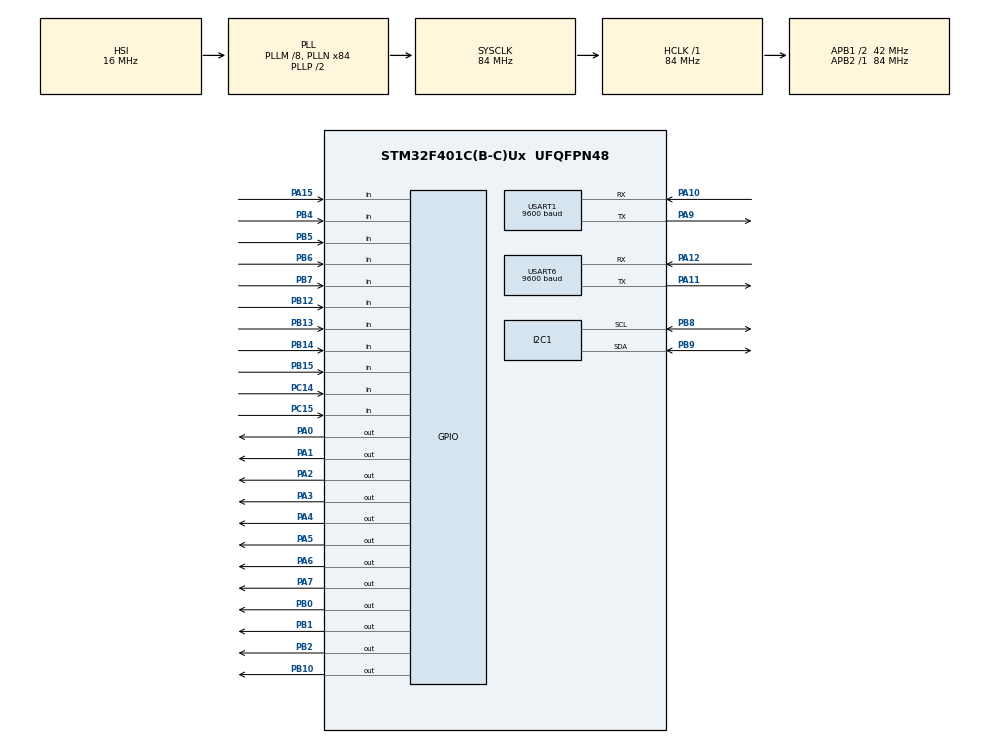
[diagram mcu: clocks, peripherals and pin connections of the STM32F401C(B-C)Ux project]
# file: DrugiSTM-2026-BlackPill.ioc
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Dma.Request0=USART6_RX
Dma.Request1=USART6_TX
Dma.USART6_RX.0.Direction=DMA_PERIPH_TO_MEMORY
Dma.USART6_RX.0.FIFOMode=DMA_FIFOMODE_DISABLE
Dma.USART6_RX.0.Instance=DMA2_Stream1
Dma.USART6_RX.0.MemDataAlignment=DMA_MDATAALIGN_BYTE
Dma.USART6_RX.0.MemInc=DMA_MINC_ENABLE
Dma.USART6_RX.0.Mode=DMA_CIRCULAR
Dma.USART6_RX.0.PeriphDataAlignment=DMA_PDATAALIGN_BYTE
Dma.USART6_RX.0.PeriphInc=DMA_PINC_DISABLE
Dma.USART6_RX.0.Priority=DMA_PRIORITY_LOW
Dma.USART6_TX.1.Direction=DMA_MEMORY_TO_PERIPH
Dma.USART6_TX.1.FIFOMode=DMA_FIFOMODE_DISABLE
Dma.USART6_TX.1.Instance=DMA2_Stream6
Dma.USART6_TX.1.MemDataAlignment=DMA_MDATAALIGN_BYTE
Dma.USART6_TX.1.MemInc=DMA_MINC_ENABLE
Dma.USART6_TX.1.Mode=DMA_NORMAL
Dma.USART6_TX.1.PeriphDataAlignment=DMA_PDATAALIGN_BYTE
Dma.USART6_TX.1.PeriphInc=DMA_PINC_DISABLE
Dma.USART6_TX.1.Priority=DMA_PRIORITY_LOW
Mcu.Family=STM32F4
Mcu.Name=STM32F401C(B-C)Ux
Mcu.Package=UFQFPN48
NVIC.DMA2_Stream1_IRQn=true\:0\:0\:false\:false\:true\:false\:true\:true
NVIC.DMA2_Stream6_IRQn=true\:0\:0\:false\:false\:true\:false\:true\:true
NVIC.PriorityGroup=NVIC_PRIORITYGROUP_4
NVIC.TIM1_BRK_TIM9_IRQn=true\:0\:0\:false\:false\:true\:true\:true\:true
PA0-WKUP.Signal=GPIO_Output
PA1.Signal=GPIO_Output
PA10.Mode=Asynchronous
PA10.Signal=USART1_RX
PA11.Mode=Asynchronous
PA11.Signal=USART6_TX
PA12.Mode=Asynchronous
PA12.Signal=USART6_RX
PA15.GPIO_PuPd=GPIO_PULLDOWN
PA15.Signal=GPIO_Input
PA2.Signal=GPIO_Output
PA3.Signal=GPIO_Output
PA4.Signal=GPIO_Output
PA5.Signal=GPIO_Output
PA6.Signal=GPIO_Output
PA7.Signal=GPIO_Output
PA9.Mode=Asynchronous
PA9.Signal=USART1_TX
PB0.Signal=GPIO_Output
PB1.Signal=GPIO_Output
PB10.Signal=GPIO_Output
PB12.GPIO_PuPd=GPIO_PULLDOWN
PB12.Signal=GPIO_Input
PB13.GPIO_PuPd=GPIO_PULLDOWN
PB13.Signal=GPIO_Input
PB14.GPIO_PuPd=GPIO_PULLDOWN
PB14.Signal=GPIO_Input
PB15.GPIO_PuPd=GPIO_PULLDOWN
PB15.Signal=GPIO_Input
PB2.Signal=GPIO_Output
PB4.Signal=GPIO_Input
PB5.Signal=GPIO_Input
PB6.Signal=GPIO_Input
PB7.Signal=GPIO_Input
PB8.Mode=I2C
PB8.Signal=I2C1_SCL
PB9.Mode=I2C
PB9.Signal=I2C1_SDA
PC14-OSC32_IN.Signal=GPIO_Input
PC15-OSC32_OUT.Signal=GPIO_Input
ProjectManager.HeapSize=0x200
ProjectManager.StackSize=0x400
ProjectManager.TargetToolchain=STM32CubeIDE
RCC.48MHZClocksFreq_Value=42000000
RCC.AHBFreq_Value=84000000
RCC.APB1CLKDivider=RCC_HCLK_DIV2
RCC.APB1Freq_Value=42000000
RCC.APB1TimFreq_Value=84000000
RCC.APB2Freq_Value=84000000
RCC.APB2TimFreq_Value=84000000
RCC.CortexFreq_Value=84000000
RCC.HCLKFreq_Value=84000000
RCC.HSE_VALUE=25000000
RCC.HSI_VALUE=16000000
RCC.LSE_VALUE=32768
RCC.PLLM=8
RCC.PLLN=84
RCC.SYSCLKFreq_VALUE=84000000
RCC.SYSCLKSource=RCC_SYSCLKSOURCE_PLLCLK
RCC.VCOOutputFreq_Value=168000000
TIM9.Period=1000-1
TIM9.Prescaler=84-1
USART1.BaudRate=9600
USART1.VirtualMode=VM_ASYNC
USART6.BaudRate=9600
USART6.VirtualMode=VM_ASYNC
VP_TIM9_VS_ClockSourceINT.Mode=Internal
board=custom

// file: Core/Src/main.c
/* USER CODE BEGIN Header */
/**
 ******************************************************************************
 * @file           : main.c
 * @brief          : Main program body
 ******************************************************************************
 * @attention
 *
 * Copyright (c) 2026 STMicroelectronics.
 * All rights reserved.
 *
 * This software is licensed under terms that can be found in the LICENSE file
 * in the root directory of this software component.
 * If no LICENSE file comes with this software, it is provided AS-IS.
 *
 ******************************************************************************
 */
/* USER CODE END Header */
#include "main.h"
#include "dma.h"
#include "i2c.h"
#include "tim.h"
#include "usart.h"
#include "gpio.h"

/* USER CODE BEGIN Includes */

#include "bitmap.h"
/* USER CODE END Includes */

/* USER CODE BEGIN PV */

int red, green, blue;
volatile int x = -1225, y = 4;
volatile float phi = -135.2;

uint8_t v1, v2, v3, v4;
uint8_t v1a = 0, v2a = 0, v3a = 0, v4a = 0;
uint8_t sisaljka_f1a = 0, sisaljka_f2a = 0, sisaljka_f3a = 0, sisaljka_f4a = 0;
uint8_t sisaljka_b1a = 0, sisaljka_b2a = 0, sisaljka_b3a = 0, sisaljka_b4a = 0;
uint8_t sisaljka_f1, sisaljka_f2, sisaljka_f3, sisaljka_f4;
uint8_t sisaljka_b1, sisaljka_b2, sisaljka_b3, sisaljka_b4;

uint8_t in;
char prviBroj, drugiBroj, treciBroj, cetvrtiBroj;
char petiBroj, sestiBroj, sedmiBroj, osmiBroj;

char cinc;
uint8_t chinchh = 0;

/* USER CODE END PV */

void SystemClock_Config(void);

int main(void)
{

  /* MCU Configuration--------------------------------------------------------*/

  /* Reset of all peripherals, Initializes the Flash interface and the Systick. */
  HAL_Init();

  /* Configure the system clock */
  SystemClock_Config();

  /* Initialize all configured peripherals */
  MX_GPIO_Init();
  MX_DMA_Init();
  MX_I2C1_Init();
  MX_TIM9_Init();
  MX_USART1_UART_Init();
  MX_USART6_UART_Init();
  /* USER CODE BEGIN 2 */
	comm_init();
	tcs3272_init();
	enable();
	time_start();
	SSD1306_Init();
	SSD1306_DrawBitmap(64, 0, logo, 64, 64, 1);
	SSD1306_DrawBitmap(0, 0, outline, 64, 63, 1);
	SSD1306_UpdateScreen();
  /* USER CODE END 2 */

  /* Infinite loop */
	while (1) {

    /* USER CODE BEGIN 3 */
		set_vacuum();
//		vacuum1(v1);
//		vacuum2(v2);
//		vacuum3(v3);
//		vacuum4(v4);

//		v1a = v1 + 48;
//		v2a = v2 + 48;
//		v3a = v3 + 48;
//		v4a = v4 + 48;

//		F_valve1(sisaljka_f1);
//		F_valve2(sisaljka_f2);
//		F_valve3(sisaljka_f3);
//		F_valve4(sisaljka_f4);

//		B_valve1(sisaljka_b1);
//		B_valve2(sisaljka_b2);
//		B_valve3(sisaljka_b3);
//		B_valve4(sisaljka_b4);
//
//		sisaljka_f1a = sisaljka_f1 + 48;
//		sisaljka_f2a = sisaljka_f2 + 48;
//		sisaljka_f3a = sisaljka_f3 + 48;
//		sisaljka_f4a = sisaljka_f4 + 48;
//
//		sisaljka_b1a = sisaljka_b1 + 48;
//		sisaljka_b2a = sisaljka_b2 + 48;
//		sisaljka_b3a = sisaljka_b3 + 48;
//		sisaljka_b4a = sisaljka_b4 + 48;
//
//		chich(cinc);
//		chinchh = cinc + 48;
//
//		char jedan[1];
//		*jedan = 49;
//		char dva[1];
//		char nula[1];
//		char c[1];
//		*c = 'C';
//		char y[1];
//		*y = 'Y';
//		char cetiri[1];
//		//		sprintf(jedan, "%d", 1);
//		//		sprintf(dva, "%d", 2);
//		//		sprintf(nula, "%d", 0);
//		//		sprintf(cetiri, "%d", 4);
//		//
//
//		SSD1306_GotoXY(8, 2);
//		SSD1306_Puts(&prviBroj, &Font_11x18, 1);
//		SSD1306_GotoXY(20, 2);
//		SSD1306_Puts(&drugiBroj, &Font_11x18, 1);
//		SSD1306_GotoXY(32, 2);
//		SSD1306_Puts(&treciBroj, &Font_11x18, 1);
//		SSD1306_GotoXY(44, 2);
//		SSD1306_Puts(&cetvrtiBroj, &Font_11x18, 1);
//
//		SSD1306_GotoXY(2, 21);
//		SSD1306_Puts(c, &Font_11x18, 1);
//		SSD1306_GotoXY(13, 21);
//		SSD1306_Puts(y, &Font_11x18, 1);
//		SSD1306_GotoXY(26, 21);
//		SSD1306_Puts(cetiri, &Font_11x18, 1);
//		SSD1306_GotoXY(38, 21);
//		SSD1306_Puts(dva, &Font_11x18, 1);
//		SSD1306_GotoXY(50, 21);
//		SSD1306_Puts(jedan, &Font_11x18, 1);
//
//		SSD1306_GotoXY(8, 42);
//		SSD1306_Puts(&petiBroj, &Font_11x18, 1);
//		SSD1306_GotoXY(20, 42);
//		SSD1306_Puts(&sestiBroj, &Font_11x18, 1);
//		SSD1306_GotoXY(32, 42);
//		SSD1306_Puts(&sedmiBroj, &Font_11x18, 1);
//		SSD1306_GotoXY(44, 42);
//		SSD1306_Puts(&osmiBroj, &Font_11x18, 1);
//
//		SSD1306_UpdateScreen();
	}
  /* USER CODE END 3 */
}

void SystemClock_Config(void)
{
  RCC_OscInitTypeDef RCC_OscInitStruct = {0};
  RCC_ClkInitTypeDef RCC_ClkInitStruct = {0};

  /** Configure the main internal regulator output voltage
  */
  __HAL_RCC_PWR_CLK_ENABLE();
  __HAL_PWR_VOLTAGESCALING_CONFIG(PWR_REGULATOR_VOLTAGE_SCALE2);

  /** Initializes the RCC Oscillators according to the specified parameters
  * in the RCC_OscInitTypeDef structure.
  */
  RCC_OscInitStruct.OscillatorType = RCC_OSCILLATORTYPE_HSI;
  RCC_OscInitStruct.HSIState = RCC_HSI_ON;
  RCC_OscInitStruct.HSICalibrationValue = RCC_HSICALIBRATION_DEFAULT;
  RCC_OscInitStruct.PLL.PLLState = RCC_PLL_ON;
  RCC_OscInitStruct.PLL.PLLSource = RCC_PLLSOURCE_HSI;
  RCC_OscInitStruct.PLL.PLLM = 8;
  RCC_OscInitStruct.PLL.PLLN = 84;
  RCC_OscInitStruct.PLL.PLLP = RCC_PLLP_DIV2;
  RCC_OscInitStruct.PLL.PLLQ = 4;
  if (HAL_RCC_OscConfig(&RCC_OscInitStruct) != HAL_OK)
  {
    Error_Handler();
  }

  /** Initializes the CPU, AHB and APB buses clocks
  */
  RCC_ClkInitStruct.ClockType = RCC_CLOCKTYPE_HCLK|RCC_CLOCKTYPE_SYSCLK
                              |RCC_CLOCKTYPE_PCLK1|RCC_CLOCKTYPE_PCLK2;
  RCC_ClkInitStruct.SYSCLKSource = RCC_SYSCLKSOURCE_PLLCLK;
  RCC_ClkInitStruct.AHBCLKDivider = RCC_SYSCLK_DIV1;
  RCC_ClkInitStruct.APB1CLKDivider = RCC_HCLK_DIV2;
  RCC_ClkInitStruct.APB2CLKDivider = RCC_HCLK_DIV1;

  if (HAL_RCC_ClockConfig(&RCC_ClkInitStruct, FLASH_LATENCY_2) != HAL_OK)
  {
    Error_Handler();
  }
}

void Error_Handler(void)
{
	__disable_irq();
	while (1) {
	}
}
